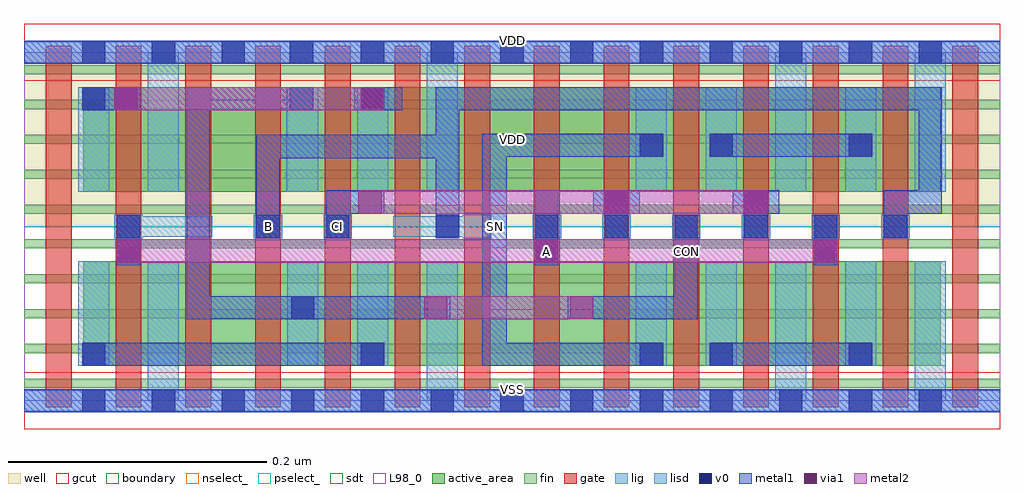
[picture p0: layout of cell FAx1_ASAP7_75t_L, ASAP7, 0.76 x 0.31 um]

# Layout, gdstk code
import gdstk
lib = gdstk.Library(unit=1e-6, precision=2.5e-10)
def R(c, l, rs):  # rectangles x0, y0, x1, y1
    for r in rs: c.add(gdstk.rectangle(r[:2], r[2:], *l))
def A(c, l, x, y, w, h, nx, ny, dx, dy):  # array of equal rectangles
    R(c, l, [(x+i*dx, y+j*dy, x+i*dx+w, y+j*dy+h) for i in range(nx) for j in range(ny)])
def P(c, l, *ps):  # polygons
    for p in ps: c.add(gdstk.Polygon(p, *l))
well = (1, 0)
fin = (2, 0)
gate = (7, 0)
gcut = (10, 0)
active_area = (11, 0)
nselect_ = (12, 0)
pselect_ = (13, 0)
lig = (16, 0)
lisd = (17, 0)
v0 = (18, 0)
metal1 = (19, 0)
metal2 = (20, 0)
via1 = (21, 0)
sdt = (88, 0)
L98_0 = (98, 0)
boundary = (100, 0)

fax1_asap7_75t_l = lib.new_cell('FAx1_ASAP7_75t_L')
R(fax1_asap7_75t_l, well, [(0,0.135,0.756,0.27)])
A(fax1_asap7_75t_l, fin, 0, 0.01, 0.756, 0.007, 1, 10, 0, 0.027)
A(fax1_asap7_75t_l, gate, 0.017, -0.005, 0.02, 0.28, 14, 1, 0.054, 0)
R(fax1_asap7_75t_l, gcut, [(0,-0.022,0.756,0.022), (0,0.248,0.756,0.292)])
R(fax1_asap7_75t_l, active_area, [(0.046,0.027,0.71,0.108), (0.046,0.162,0.71,0.243)])
R(fax1_asap7_75t_l, nselect_, [(0,0,0.756,0.135)])
R(fax1_asap7_75t_l, pselect_, [(0,0.135,0.756,0.27)])
A(fax1_asap7_75t_l, lig, 0.34, 0.126, 0.022, 0.018, 7, 1, 0.054, 0)
R(fax1_asap7_75t_l, lig, [(0,-0.008,0.756,0.008), (0.07,0.126,0.092,0.144), (0.178,0.126,0.2,0.144), (0.232,0.126,0.254,0.144), (0.07,0.127,0.146,0.143), (0.286,0.127,0.362,0.143), (0,0.262,0.756,0.278)])
A(fax1_asap7_75t_l, lisd, 0.042, 0.162, 0.024, 0.081, 3, 1, 0.216, 0)
R(fax1_asap7_75t_l, lisd, [(0.096,0,0.12,0.108), (0.096,0,0.12,0.108), (0.312,0,0.336,0.108), (0.312,0,0.336,0.108), (0.582,0,0.606,0.108), (0.582,0,0.606,0.108), (0.69,0,0.714,0.108), (0.69,0,0.714,0.108), (0.042,0.027,0.066,0.108), (0.204,0.027,0.228,0.108), (0.258,0.027,0.282,0.108), (0.474,0.027,0.498,0.108), (0.528,0.027,0.552,0.108), (0.636,0.027,0.66,0.108), (0.096,0.162,0.12,0.27), (0.096,0.162,0.12,0.27), (0.203,0.162,0.228,0.243), (0.312,0.162,0.336,0.27), (0.312,0.162,0.336,0.27), (0.528,0.162,0.552,0.243), (0.582,0.162,0.606,0.27), (0.582,0.162,0.606,0.27), (0.636,0.162,0.66,0.243), (0.69,0.162,0.714,0.27), (0.69,0.162,0.714,0.27)])
A(fax1_asap7_75t_l, v0, 0.045, -0.009, 0.018, 0.018, 13, 1, 0.054, 0)
A(fax1_asap7_75t_l, v0, 0.045, 0.027, 0.018, 0.018, 3, 1, 0.216, 0)
A(fax1_asap7_75t_l, v0, 0.396, 0.126, 0.018, 0.018, 6, 1, 0.054, 0)
A(fax1_asap7_75t_l, v0, 0.045, 0.261, 0.018, 0.018, 3, 1, 0.054, 0)
A(fax1_asap7_75t_l, v0, 0.261, 0.261, 0.018, 0.018, 9, 1, 0.054, 0)
R(fax1_asap7_75t_l, v0, [(0.531,0.027,0.549,0.045), (0.639,0.027,0.657,0.045), (0.207,0.063,0.225,0.081), (0.072,0.126,0.09,0.144), (0.18,0.126,0.198,0.144), (0.234,0.126,0.252,0.144), (0.319,0.126,0.337,0.144), (0.477,0.189,0.495,0.207), (0.531,0.189,0.549,0.207), (0.639,0.189,0.657,0.207), (0.045,0.225,0.063,0.243), (0.206,0.225,0.224,0.243), (0.261,0.225,0.279,0.243), (0.206,0.261,0.224,0.279)])
R(fax1_asap7_75t_l, metal1, [(0,-0.009,0.756,0.009), (0.045,0.027,0.279,0.045), (0.531,0.027,0.657,0.045), (0.072,0.105,0.09,0.144), (0.396,0.105,0.414,0.163), (0.612,0.105,0.63,0.144), (0.45,0.126,0.468,0.163), (0.558,0.126,0.576,0.163), (0.441,0.145,0.477,0.163), (0.45,0.145,0.468,0.163), (0.549,0.145,0.585,0.163), (0.558,0.145,0.576,0.163), (0.531,0.189,0.657,0.207), (0.045,0.225,0.09,0.243), (0.256,0.225,0.293,0.243), (0,0.261,0.756,0.279)])
P(fax1_asap7_75t_l, metal1, [(0.126,0.063),(0.126,0.243),(0.224,0.243),(0.224,0.225),(0.144,0.225),(0.144,0.081),(0.33,0.081),(0.33,0.063)],
  [(0.18,0.126),(0.18,0.206),(0.319,0.206),(0.319,0.243),(0.711,0.243),(0.711,0.145),(0.684,0.145),(0.684,0.126),(0.666,0.126),(0.666,0.163),(0.693,0.163),(0.693,0.225),(0.337,0.225),(0.337,0.126),(0.319,0.126),(0.319,0.188),(0.198,0.188),(0.198,0.126)],
  [(0.421,0.063),(0.421,0.081),(0.504,0.081),(0.504,0.144),(0.522,0.144),(0.522,0.063)],
  [(0.355,0.027),(0.355,0.207),(0.495,0.207),(0.495,0.189),(0.374,0.189),(0.374,0.045),(0.495,0.045),(0.495,0.027)],
  [(0.234,0.126),(0.234,0.163),(0.279,0.163),(0.279,0.145),(0.252,0.145),(0.252,0.126)])
R(fax1_asap7_75t_l, metal2, [(0.31,0.063,0.441,0.081), (0.072,0.107,0.63,0.125), (0.259,0.145,0.576,0.163), (0.07,0.225,0.279,0.243)])
R(fax1_asap7_75t_l, via1, [(0.31,0.063,0.328,0.081), (0.423,0.063,0.441,0.081), (0.072,0.107,0.09,0.125), (0.396,0.107,0.414,0.125), (0.612,0.107,0.63,0.125), (0.259,0.145,0.277,0.163), (0.45,0.145,0.468,0.163), (0.558,0.145,0.576,0.163), (0.07,0.225,0.088,0.243), (0.261,0.225,0.279,0.243)])
A(fax1_asap7_75t_l, sdt, 0.204, 0.027, 0.024, 0.081, 3, 2, 0.054, 0.135)
A(fax1_asap7_75t_l, sdt, 0.474, 0.027, 0.024, 0.081, 3, 2, 0.054, 0.135)
A(fax1_asap7_75t_l, sdt, 0.582, 0.027, 0.024, 0.081, 3, 2, 0.054, 0.135)
R(fax1_asap7_75t_l, sdt, [(0.042,0.027,0.066,0.108), (0.096,0.027,0.12,0.108), (0.096,0.027,0.12,0.108), (0.312,0.027,0.336,0.108), (0.69,0.027,0.714,0.108), (0.042,0.162,0.066,0.243), (0.096,0.162,0.12,0.243), (0.096,0.162,0.12,0.243), (0.312,0.162,0.336,0.243), (0.69,0.162,0.714,0.243)])
R(fax1_asap7_75t_l, L98_0, [(0,0,0.756,0.27)])
R(fax1_asap7_75t_l, boundary, [(0,0,0.756,0.27)])
fax1_asap7_75t_l.add(gdstk.Label('VDD', (0.378,0.2025), layer=1, texttype=251))
fax1_asap7_75t_l.add(gdstk.Label('SN', (0.365,0.135), layer=19, texttype=251))
fax1_asap7_75t_l.add(gdstk.Label('VSS', (0.378,0.009), layer=19, texttype=251))
fax1_asap7_75t_l.add(gdstk.Label('VDD', (0.378,0.279), layer=19, texttype=251))
fax1_asap7_75t_l.add(gdstk.Label('A', (0.405,0.116), layer=19, texttype=251))
fax1_asap7_75t_l.add(gdstk.Label('B', (0.189,0.135), layer=19, texttype=251))
fax1_asap7_75t_l.add(gdstk.Label('CON', (0.513,0.116), layer=19, texttype=251))
fax1_asap7_75t_l.add(gdstk.Label('CI', (0.243,0.135), layer=19, texttype=251))
fax1_asap7_75t_l.add(gdstk.Label('VSS', (0.378,-0.0675), layer=3, texttype=251))

lib.write_gds('FAx1_ASAP7_75t_L.gds')
